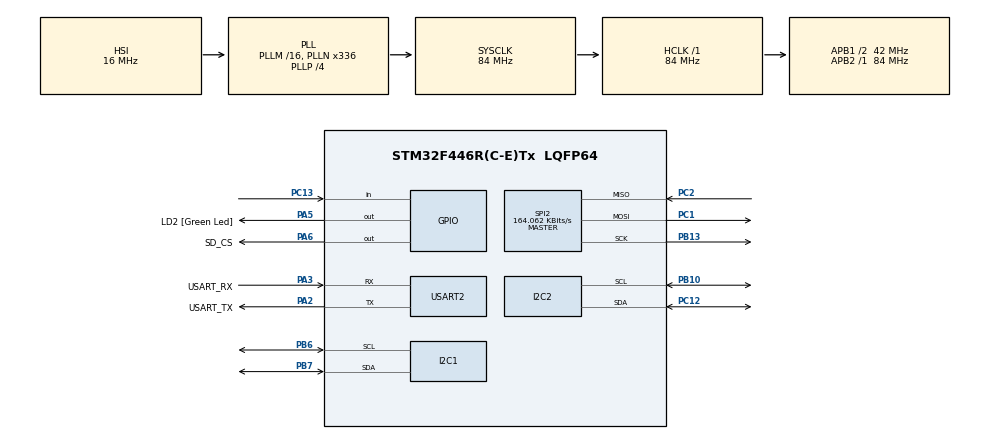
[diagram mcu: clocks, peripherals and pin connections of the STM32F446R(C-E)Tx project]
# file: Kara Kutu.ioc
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Mcu.Family=STM32F4
Mcu.Name=STM32F446R(C-E)Tx
Mcu.Package=LQFP64
NVIC.PriorityGroup=NVIC_PRIORITYGROUP_0
PA13.GPIO_Label=TMS
PA13.Mode=Serial_Wire
PA13.Signal=SYS_JTMS-SWDIO
PA14.GPIO_Label=TCK
PA14.Mode=Serial_Wire
PA14.Signal=SYS_JTCK-SWCLK
PA2.GPIO_Label=USART_TX
PA2.Mode=Asynchronous
PA2.Signal=USART2_TX
PA3.GPIO_Label=USART_RX
PA3.Mode=Asynchronous
PA3.Signal=USART2_RX
PA5.GPIO_Label=LD2 [Green Led]
PA5.Signal=GPIO_Output
PA6.GPIO_Label=SD_CS
PA6.PinState=GPIO_PIN_RESET
PA6.Signal=GPIO_Output
PB10.Mode=I2C
PB10.Signal=I2C2_SCL
PB13.Mode=Full_Duplex_Master
PB13.Signal=SPI2_SCK
PB3.GPIO_Label=SWO
PB3.Signal=SYS_JTDO-SWO
PB6.Mode=I2C
PB6.Signal=I2C1_SCL
PB7.Mode=I2C
PB7.Signal=I2C1_SDA
PC1.Mode=Full_Duplex_Master
PC1.Signal=SPI2_MOSI
PC12.Mode=I2C
PC12.Signal=I2C2_SDA
PC13.Signal=GPIO_Input
PC14-OSC32_IN.Mode=LSE-External-Oscillator
PC14-OSC32_IN.Signal=RCC_OSC32_IN
PC15-OSC32_OUT.Mode=LSE-External-Oscillator
PC15-OSC32_OUT.Signal=RCC_OSC32_OUT
PC2.Mode=Full_Duplex_Master
PC2.Signal=SPI2_MISO
PH0-OSC_IN.Mode=HSE-External-Oscillator
PH0-OSC_IN.Signal=RCC_OSC_IN
PH1-OSC_OUT.Mode=HSE-External-Oscillator
PH1-OSC_OUT.Signal=RCC_OSC_OUT
ProjectManager.HeapSize=0x200
ProjectManager.StackSize=0x400
ProjectManager.TargetToolchain=STM32CubeIDE
RCC.48MHZClocksFreq_Value=84000000
RCC.AHBFreq_Value=84000000
RCC.APB1CLKDivider=RCC_HCLK_DIV2
RCC.APB1Freq_Value=42000000
RCC.APB1TimFreq_Value=84000000
RCC.APB2Freq_Value=84000000
RCC.APB2TimFreq_Value=84000000
RCC.CortexFreq_Value=84000000
RCC.FLatency-AdvancedSettings=FLASH_LATENCY_2
RCC.HCLKFreq_Value=84000000
RCC.HSE_VALUE=8000000
RCC.HSI_VALUE=16000000
RCC.PLLN=336
RCC.PLLP=RCC_PLLP_DIV4
RCC.SYSCLKFreq_VALUE=84000000
RCC.SYSCLKSource=RCC_SYSCLKSOURCE_PLLCLK
RCC.USBFreq_Value=168000000
RCC.VCOOutputFreq_Value=336000000
SPI2.BaudRatePrescaler=SPI_BAUDRATEPRESCALER_256
SPI2.CalculateBaudRate=164.062 KBits/s
SPI2.Direction=SPI_DIRECTION_2LINES
SPI2.Mode=SPI_MODE_MASTER
SPI2.VirtualType=VM_MASTER
USART2.VirtualMode=VM_ASYNC
VP_FATFS_VS_Generic.Mode=User_defined
board=NUCLEO-F446RE

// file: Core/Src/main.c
/* USER CODE BEGIN Header */
/**
  ******************************************************************************
  * @file           : main.c
  * @brief          : Main program body
  ******************************************************************************
  * @attention
  *
  * Copyright (c) 2025 STMicroelectronics.
  * All rights reserved.
  *
  * This software is licensed under terms that can be found in the LICENSE file
  * in the root directory of this software component.
  * If no LICENSE file comes with this software, it is provided AS-IS.
  *
  ******************************************************************************
  */
/* USER CODE END Header */
#include "main.h"
#include "fatfs.h"

/* USER CODE BEGIN Includes */
#include "ssd1306_fonts.h"
#include "ssd1306.h"
#include <stdio.h>
#include <string.h>
#include <math.h>
#include "fatfs_sd.h"

#include "mpu6050.h"
#include "i2c_scanner.h"

/* USER CODE END Includes */

/* USER CODE BEGIN PD */
MPU6050_t Sensor;
uint8_t sistem_modu = 0;

uint32_t kaza_zamani = 0;
uint8_t kaza_durumu = 0;

FATFS fs;
FIL dosya;
FRESULT hata;
char dosyaAdi[] = "LOG.TXT";
/* USER CODE END PD */

I2C_HandleTypeDef hi2c1;
I2C_HandleTypeDef hi2c2;

SPI_HandleTypeDef hspi2;

UART_HandleTypeDef huart2;

/* USER CODE BEGIN PV */

char mesaj[64];
//diğer dosyalara alındılar
//#define MPU6050_WRITE_ADRES 0xD0 // (0x68 << 1)
//#define PWR_MGMT_1_REG 0x6B //uyandırma bölgesi
//#define ACCEL_XOUT_H_REG 0x3B // veri okumaya başlayadığımız nokta
//#define MPU6050_ADDR 0x68
//#define SSD1306_I2C_ADDR 0x78 //(0x3C << 1)

/* USER CODE END PV */

void SystemClock_Config(void);
static void MX_GPIO_Init(void);
static void MX_USART2_UART_Init(void);
static void MX_I2C1_Init(void);
static void MX_I2C2_Init(void);
static void MX_SPI2_Init(void);

int main(void)
{

  /* USER CODE BEGIN 1 */

	uint8_t kaza_durumu = 0;
	uint32_t kaza_zamani = 0;
	uint32_t son_ekran_zamani;
  /* USER CODE END 1 */

  /* MCU Configuration--------------------------------------------------------*/

  /* Reset of all peripherals, Initializes the Flash interface and the Systick. */
  HAL_Init();

  /* Configure the system clock */
  SystemClock_Config();

  /* Initialize all configured peripherals */
  MX_GPIO_Init();
  MX_USART2_UART_Init();
  MX_I2C1_Init();
  MX_I2C2_Init();
  MX_SPI2_Init();
  MX_FATFS_Init();
  /* USER CODE BEGIN 2 */

  //---------------------------------------------------------------------------------------------------->

  I2C_Scanner_Baslat(&hi2c1, &huart2, "I2C1");

  I2C_Scanner_Baslat(&hi2c2, &huart2, "I2C2");

  if(MPU6050_Baslat(&hi2c1)) {
        char m[] = "MPU6050 Hazir!\r\n";
        HAL_UART_Transmit(&huart2, (uint8_t*)m, strlen(m), 100);
    }

    // OLED
    SSD1306_Init();
    SSD1306_Fill(Black);
    SSD1306_GotoXY(20, 0);
    SSD1306_Puts("KARA KUTU", Font_11x18, White);
    SSD1306_UpdateScreen();

    //SD KART
    printf("SD Kart Baglaniyor...\n");

    // A) Kartı Sisteme Tak (Mount)
    hata = f_mount(&fs, "", 1);

    if(hata != FR_OK)
    {
        sprintf(mesaj, "SD KART HATASI: %d \r\n", hata);
        HAL_UART_Transmit(&huart2, (uint8_t*)mesaj, strlen(mesaj), 100);
        SSD1306_GotoXY(0, 30);
        SSD1306_Puts("SD: HATA!", Font_7x10, White);
        HAL_Delay(100);
    }
    else
    {
        sprintf(mesaj, "SD Kart Takildi. Dosya aciliyor...\r\n");
        HAL_UART_Transmit(&huart2, (uint8_t*)mesaj, strlen(mesaj), 100);

        hata = f_open(&dosya, dosyaAdi, FA_OPEN_ALWAYS | FA_WRITE | FA_OPEN_APPEND);

        if(hata == FR_OK)
        {

            f_printf(&dosya, "\n--- SISTEM BASLATILDI ---\n");
            f_close(&dosya);

            SSD1306_GotoXY(0, 30);
            SSD1306_Puts("SD: KAYIT OK", Font_7x10, White);
        }
        else
        {
            sprintf(mesaj, "Dosya Acilamadi: %d \r\n", hata);
            HAL_UART_Transmit(&huart2, (uint8_t*)mesaj, strlen(mesaj), 100);
        }
    }

    SSD1306_UpdateScreen();
    son_ekran_zamani = HAL_GetTick();

  /* USER CODE END 2 */

  /* Infinite loop */
  while (1)
  {

    /* USER CODE BEGIN 3 */

	  MPU6050_Oku(&hi2c1, &Sensor);

	  if(Sensor.AccX == 0 && Sensor.AccY == 0 && Sensor.AccZ == 0) {
		sprintf(mesaj, "MPU6050 Baslatılıyor G \r\n");
		HAL_UART_Transmit(&huart2, (uint8_t*)mesaj, strlen(mesaj), 100);
		MPU6050_Baslat(&hi2c1);
	  }

	  //-----------DEVAM EDEN KAZA
	  if(kaza_durumu == 1 && (HAL_GetTick() - kaza_zamani > 2000))kaza_durumu = 0;

	  //-----------Ekran Güncelleme
	  if (HAL_GetTick() - son_ekran_zamani > 100)
	  {
		  // Saati güncelle
		  son_ekran_zamani = HAL_GetTick();

		  // Bilgisayaera yaz
		  sprintf(mesaj, "Kuvvet: %.2f G \r\n", Sensor.ToplamKuvvet);
		  HAL_UART_Transmit(&huart2, (uint8_t*)mesaj, strlen(mesaj), 100);

		  if(kaza_durumu == 0) {
			   SSD1306_GotoXY(0, 45);
			   SSD1306_Puts("Kayit: BEKLIYOR ", Font_7x10, White);
			   SSD1306_UpdateScreen();
		  }

	  }

	  //----------KAZA
	  if (Sensor.ToplamKuvvet > 2.2 && kaza_durumu==0)
	  {
		   char kaza[] = "!!! KAZA ALGILANDI !!! \r\n";
		   HAL_UART_Transmit(&huart2, (uint8_t*)kaza, strlen(kaza), 100);

		   kaza_durumu = 1;
		   kaza_zamani = HAL_GetTick();

		   SSD1306_GotoXY(0, 45);
		   SSD1306_Puts("KAZA ALGILANDI  ", Font_7x10, White);
		   SSD1306_UpdateScreen();

		   if(f_mount(&fs, "", 1) == FR_OK)
		   {
			   if(f_open(&dosya, dosyaAdi, FA_OPEN_APPEND | FA_WRITE) == FR_OK)
			   {

				   f_printf(&dosya, "KAZA! Kuvvet: %d.%d G\n",
							(int)Sensor.ToplamKuvvet,
							(int)(Sensor.ToplamKuvvet * 100) % 100);

				   f_close(&dosya);
			   }
		   }

	  }

	}
  /* USER CODE END 3 */
}

void SystemClock_Config(void)
{
  RCC_OscInitTypeDef RCC_OscInitStruct = {0};
  RCC_ClkInitTypeDef RCC_ClkInitStruct = {0};

  /** Configure the main internal regulator output voltage
  */
  __HAL_RCC_PWR_CLK_ENABLE();
  __HAL_PWR_VOLTAGESCALING_CONFIG(PWR_REGULATOR_VOLTAGE_SCALE3);

  /** Initializes the RCC Oscillators according to the specified parameters
  * in the RCC_OscInitTypeDef structure.
  */
  RCC_OscInitStruct.OscillatorType = RCC_OSCILLATORTYPE_HSI;
  RCC_OscInitStruct.HSIState = RCC_HSI_ON;
  RCC_OscInitStruct.HSICalibrationValue = RCC_HSICALIBRATION_DEFAULT;
  RCC_OscInitStruct.PLL.PLLState = RCC_PLL_ON;
  RCC_OscInitStruct.PLL.PLLSource = RCC_PLLSOURCE_HSI;
  RCC_OscInitStruct.PLL.PLLM = 16;
  RCC_OscInitStruct.PLL.PLLN = 336;
  RCC_OscInitStruct.PLL.PLLP = RCC_PLLP_DIV4;
  RCC_OscInitStruct.PLL.PLLQ = 2;
  RCC_OscInitStruct.PLL.PLLR = 2;
  if (HAL_RCC_OscConfig(&RCC_OscInitStruct) != HAL_OK)
  {
    Error_Handler();
  }

  /** Initializes the CPU, AHB and APB buses clocks
  */
  RCC_ClkInitStruct.ClockType = RCC_CLOCKTYPE_HCLK|RCC_CLOCKTYPE_SYSCLK
                              |RCC_CLOCKTYPE_PCLK1|RCC_CLOCKTYPE_PCLK2;
  RCC_ClkInitStruct.SYSCLKSource = RCC_SYSCLKSOURCE_PLLCLK;
  RCC_ClkInitStruct.AHBCLKDivider = RCC_SYSCLK_DIV1;
  RCC_ClkInitStruct.APB1CLKDivider = RCC_HCLK_DIV2;
  RCC_ClkInitStruct.APB2CLKDivider = RCC_HCLK_DIV1;

  if (HAL_RCC_ClockConfig(&RCC_ClkInitStruct, FLASH_LATENCY_2) != HAL_OK)
  {
    Error_Handler();
  }
}

static void MX_I2C1_Init(void)
{

  hi2c1.Instance = I2C1;
  hi2c1.Init.ClockSpeed = 100000;
  hi2c1.Init.DutyCycle = I2C_DUTYCYCLE_2;
  hi2c1.Init.OwnAddress1 = 0;
  hi2c1.Init.AddressingMode = I2C_ADDRESSINGMODE_7BIT;
  hi2c1.Init.DualAddressMode = I2C_DUALADDRESS_DISABLE;
  hi2c1.Init.OwnAddress2 = 0;
  hi2c1.Init.GeneralCallMode = I2C_GENERALCALL_DISABLE;
  hi2c1.Init.NoStretchMode = I2C_NOSTRETCH_DISABLE;
  if (HAL_I2C_Init(&hi2c1) != HAL_OK)
  {
    Error_Handler();
  }

}

static void MX_I2C2_Init(void)
{

  hi2c2.Instance = I2C2;
  hi2c2.Init.ClockSpeed = 100000;
  hi2c2.Init.DutyCycle = I2C_DUTYCYCLE_2;
  hi2c2.Init.OwnAddress1 = 0;
  hi2c2.Init.AddressingMode = I2C_ADDRESSINGMODE_7BIT;
  hi2c2.Init.DualAddressMode = I2C_DUALADDRESS_DISABLE;
  hi2c2.Init.OwnAddress2 = 0;
  hi2c2.Init.GeneralCallMode = I2C_GENERALCALL_DISABLE;
  hi2c2.Init.NoStretchMode = I2C_NOSTRETCH_DISABLE;
  if (HAL_I2C_Init(&hi2c2) != HAL_OK)
  {
    Error_Handler();
  }

}

static void MX_SPI2_Init(void)
{

  /* SPI2 parameter configuration*/
  hspi2.Instance = SPI2;
  hspi2.Init.Mode = SPI_MODE_MASTER;
  hspi2.Init.Direction = SPI_DIRECTION_2LINES;
  hspi2.Init.DataSize = SPI_DATASIZE_8BIT;
  hspi2.Init.CLKPolarity = SPI_POLARITY_LOW;
  hspi2.Init.CLKPhase = SPI_PHASE_1EDGE;
  hspi2.Init.NSS = SPI_NSS_SOFT;
  hspi2.Init.BaudRatePrescaler = SPI_BAUDRATEPRESCALER_256;
  hspi2.Init.FirstBit = SPI_FIRSTBIT_MSB;
  hspi2.Init.TIMode = SPI_TIMODE_DISABLE;
  hspi2.Init.CRCCalculation = SPI_CRCCALCULATION_DISABLE;
  hspi2.Init.CRCPolynomial = 10;
  if (HAL_SPI_Init(&hspi2) != HAL_OK)
  {
    Error_Handler();
  }

}

static void MX_USART2_UART_Init(void)
{

  huart2.Instance = USART2;
  huart2.Init.BaudRate = 115200;
  huart2.Init.WordLength = UART_WORDLENGTH_8B;
  huart2.Init.StopBits = UART_STOPBITS_1;
  huart2.Init.Parity = UART_PARITY_NONE;
  huart2.Init.Mode = UART_MODE_TX_RX;
  huart2.Init.HwFlowCtl = UART_HWCONTROL_NONE;
  huart2.Init.OverSampling = UART_OVERSAMPLING_16;
  if (HAL_UART_Init(&huart2) != HAL_OK)
  {
    Error_Handler();
  }

}

static void MX_GPIO_Init(void)
{
  GPIO_InitTypeDef GPIO_InitStruct = {0};

  /* GPIO Ports Clock Enable */
  __HAL_RCC_GPIOC_CLK_ENABLE();
  __HAL_RCC_GPIOH_CLK_ENABLE();
  __HAL_RCC_GPIOA_CLK_ENABLE();
  __HAL_RCC_GPIOB_CLK_ENABLE();

  /*Configure GPIO pin Output Level */
  HAL_GPIO_WritePin(GPIOA, LD2_Pin|SD_CS_Pin, GPIO_PIN_RESET);

  /*Configure GPIO pin : PC13 */
  GPIO_InitStruct.Pin = GPIO_PIN_13;
  GPIO_InitStruct.Mode = GPIO_MODE_INPUT;
  GPIO_InitStruct.Pull = GPIO_NOPULL;
  HAL_GPIO_Init(GPIOC, &GPIO_InitStruct);

  /*Configure GPIO pins : LD2_Pin SD_CS_Pin */
  GPIO_InitStruct.Pin = LD2_Pin|SD_CS_Pin;
  GPIO_InitStruct.Mode = GPIO_MODE_OUTPUT_PP;
  GPIO_InitStruct.Pull = GPIO_NOPULL;
  GPIO_InitStruct.Speed = GPIO_SPEED_FREQ_LOW;
  HAL_GPIO_Init(GPIOA, &GPIO_InitStruct);

}

/* USER CODE BEGIN 4 */

/* USER CODE BEGIN 4 */

/* USER CODE END 4 */

void Error_Handler(void)
{
  __disable_irq();
  while (1)
  {
  }
}
